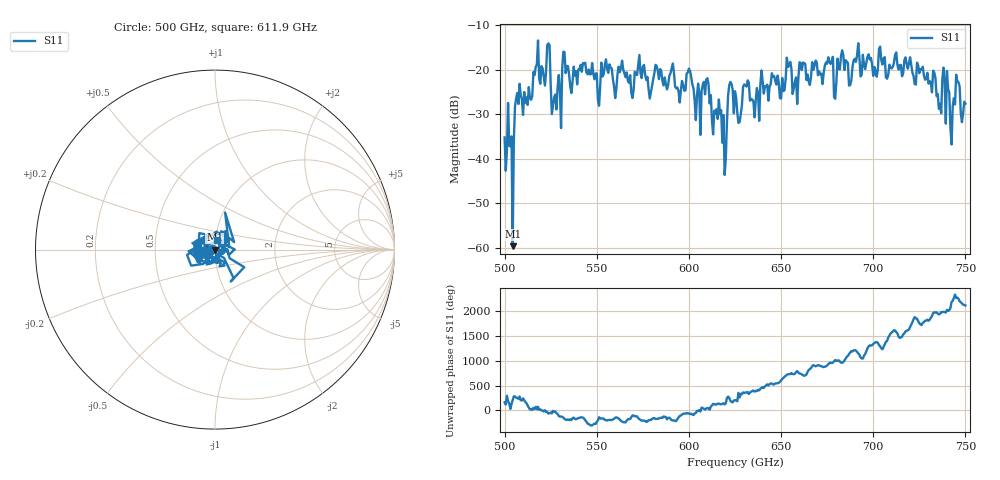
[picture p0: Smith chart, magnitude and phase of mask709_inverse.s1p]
!Created with skrf (http://scikit-rf.org).
# GHz S MA R 50.0
!freq magS11 angS11
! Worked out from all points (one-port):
!   401 points, 500 GHz to 750 GHz, reference 50 ohm
!   lowest |S11| = -59.6 dB at 504.4 GHz (marker M1), VSWR 1.00, Z = 49.9 - j0.0398 ohm
!   |S11| at or under -10 dB: start of sweep to end of sweep
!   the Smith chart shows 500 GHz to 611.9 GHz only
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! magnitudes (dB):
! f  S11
! 500 GHz  -35.2
! 504.4 GHz  -59.6
! 506.9 GHz  -25.2
! 513.8 GHz  -26.3
! 516.9 GHz  -19.3
! 523.8 GHz  -14.1
! 526.9 GHz  -26.2
! 531.2 GHz  -19.7
! 562.5 GHz  -20.5
! 579.4 GHz  -25.1
! 590.6 GHz  -19.7
! 593.8 GHz  -24.0
! 600 GHz  -19.7
! 605 GHz  -23.1
! 609.4 GHz  -22.2
! 619.4 GHz  -43.6
! 622.5 GHz  -22.7
! 625 GHz  -24.8
! 656.2 GHz  -25.4
! 683.8 GHz  -16.6
! 687.5 GHz  -23.4
! 691.2 GHz  -16.7
! 718.8 GHz  -19.7
! 735.6 GHz  -28.7
! 738.8 GHz  -22.5
! 743.1 GHz  -28.2
! 745.6 GHz  -22.6
! 750 GHz  -27.6
